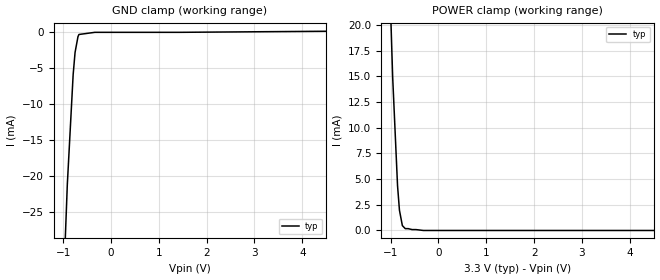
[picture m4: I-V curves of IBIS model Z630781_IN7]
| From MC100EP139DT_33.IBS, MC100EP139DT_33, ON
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| (C) COPYRIGHT 1993-2000
| MENTOR GRAPHICS CORPORATION
| ICX STANDARD LIBRARY, ICX PROJECT MODELING,
| ICX CUSTOM MODELING, ICX VENDOR MODEL
| ALL RIGHTS RESERVED.
| THE FOLLOWING ARE TRADEMARKS OR SERVICE MARKS OF
| MENTOR GRAPHICS CORPORATION:ICX (R), ICX STANDARD
| LIBRARY(R), ICX PROJECT MODELING(R), ICX CUSTOM
| MODELING(R), qualityIBIS(TM), MODELVIEWER(TM),
| AND MODELEDITOR(TM)
| ALL COPIES OF SOFTWARE, INCLUDING BUT NOT LIMITED TO
| ANY MODIFICATIONS, ENHANCEMENTS OR DERIVATIVE WORKS,
| MUST CONTAIN ALL MENTOR GRAPHICS CORPORATION'S
| NOTICES AND LEGENDS, INCLUDING THOSE EMBEDDED IN
| SOFTWARE AND THOSE AFFIXED TO SOFTWARE MEDIUM
| AND CONTAINER, AS RECEIVED FROM MENTOR GRAPHICS
| CORPORATION.
| Model Application Version 1.89 2/18/99.
[Model] Z630781_IN7
Model_type Input_ECL
Vinl = 1.657V
Vinh = 2.277V
C_comp 1.000pF NA NA
| variable typ   min   max
[Voltage Range] 3.300V NA NA
[GND Clamp Reference] 0.000V NA NA
[POWER Clamp Reference] 3.300V NA NA
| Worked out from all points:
|   GND clamp passes 1 mA (typ) near -0.70 V on its own axis
|   POWER clamp passes 1 mA (typ) near -0.78 V on its own axis
[GND Clamp]
-3.3V     -531.6mA   NA         NA
-1.054V   -46.4mA    NA         NA
-912mV    -21.2mA    NA         NA
-790mV    -5.9mA     NA         NA
-750mV    -2.8mA     NA         NA
-689mV    -600uA     NA         NA
-669mV    -300uA     NA         NA
-334.5mV  0A         NA         NA
1.439V    0A         NA         NA
6.6V      252.1uA    NA         NA
[POWER Clamp]
-3.3V     430.4mA    NA         NA
-1.099V   36.06mA    NA         NA
-957mV    14.96mA    NA         NA
-855mV    4.367mA    NA         NA
-815mV    1.969mA    NA         NA
-754mV    472.3uA    NA         NA
-693mV    178.2uA    NA         NA
-632mV    178.2uA    NA         NA
-551mV    86.13uA    NA         NA
-470mV    86.13uA    NA         NA
-313.3mV  0A         NA         NA
6.6V      0A         NA         NA
